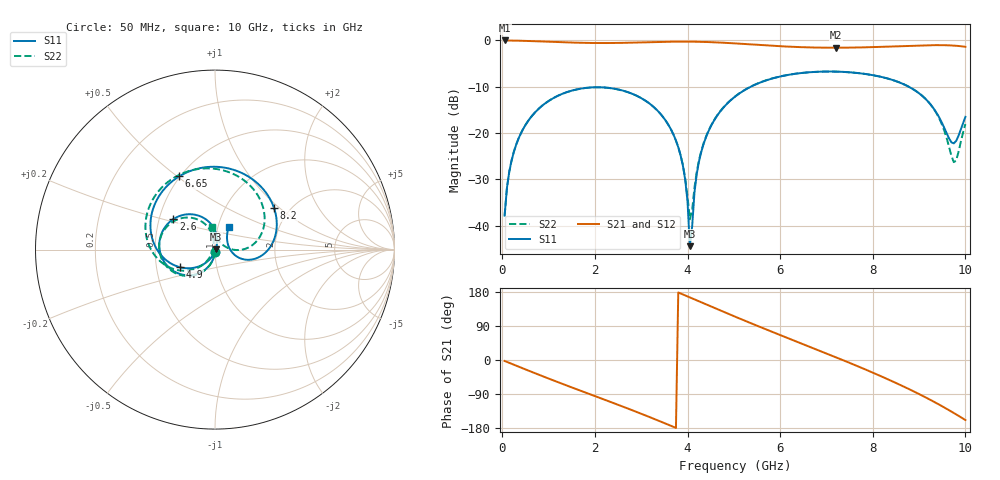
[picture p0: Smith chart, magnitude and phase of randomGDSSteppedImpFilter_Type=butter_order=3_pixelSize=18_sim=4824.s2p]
! freq	dB(S11)	phase(S11)	dB(S12)	phase(S12)
!  dB(S21)	phase(S21)	dB(S22)	phase(S22)
!S-par simulation data
#  GHz  S  DB  R 50
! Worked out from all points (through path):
!   200 points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, 50 MHz to 10 GHz, reference 50 ohm
!   highest |S21| = 0.00 dB at 50 MHz (marker M1); lowest = -1.6 dB at 7.2 GHz (marker M2)
!   group delay of S21, straight-line fit = 140 ps
!   lowest |S11| = -44.4 dB at 4.05 GHz (marker M3), VSWR 1.01, Z = 50.5 + j0.271 ohm
!   |S11| at or under -10 dB: start of sweep to 5.363 GHz; 8.779 GHz to end of sweep
!   |S22| runs from -38.6 to -6.7 dB; largest |S21 - S12| = 0
!   S11 on the Smith chart (normalised r, x): 50 MHz: 1.00, -0.03; 2.6 GHz: 0.59, +0.22; 4.9 GHz: 0.66, -0.14; 6.65 GHz: 0.49, +0.51; 8.2 GHz: 1.66, +0.92; 10 GHz: 1.13, +0.29
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0.05  -37.82 -92.3  -0.00 -2.5  -0.00 -2.5  -37.82 -92.2
0.2  -25.92 -100.5  -0.03 -10.0  -0.03 -10.0  -25.92 -100.1
0.5  -18.25 -115.8  -0.10 -24.8  -0.10 -24.8  -18.25 -115.0
1.75  -10.32 -176.1  -0.52 -83.8  -0.52 -83.8  -10.32 -172.9
2.6  -10.82 143.9  -0.52 -122.8  -0.52 -122.8  -10.82 149.4
3.4  -15.66 103.9  -0.33 -161.4  -0.33 -161.4  -15.67 113.6
3.85  -24.80 78.1  -0.26 175.6  -0.26 175.6  -24.75 98.6
4  -34.77 61.8  -0.26 167.9  -0.26 167.9  -33.80 113.0
4.05  -44.40 26.4  -0.26 165.3  -0.26 165.3  -38.61 149.2
4.15  -32.77 -104.7  -0.28 160.0  -0.28 160.0  -31.77 -132.4
4.3  -23.92 -118.8  -0.31 152.2  -0.31 152.2  -23.71 -124.6
4.9  -13.20 -153.4  -0.56 120.9  -0.56 120.9  -13.16 -147.7
5.05  -11.94 -161.4  -0.65 113.2  -0.65 113.2  -11.90 -154.7
5.8  -8.30 159.3  -1.13 75.6  -1.13 75.6  -8.28 170.6
6.65  -6.85 116.0  -1.51 34.4  -1.51 34.4  -6.85 132.1
6.7  -6.82 113.5  -1.52 31.9  -1.52 31.9  -6.82 129.8
7.2  -6.72 87.8  -1.57 7.5  -1.57 7.5  -6.73 107.0
8.2  -7.90 35.3  -1.38 -44.0  -1.38 -44.0  -7.91 59.2
8.35  -8.30 27.3  -1.32 -52.2  -1.32 -52.2  -8.30 51.6
9.25  -13.84 -16.2  -1.02 -105.6  -1.02 -105.6  -13.85 5.8
9.75  -22.21 21.1  -1.12 -139.8  -1.12 -139.8  -26.27 39.1
10  -16.50 58.4  -1.37 -158.5  -1.37 -158.5  -18.06 96.6
